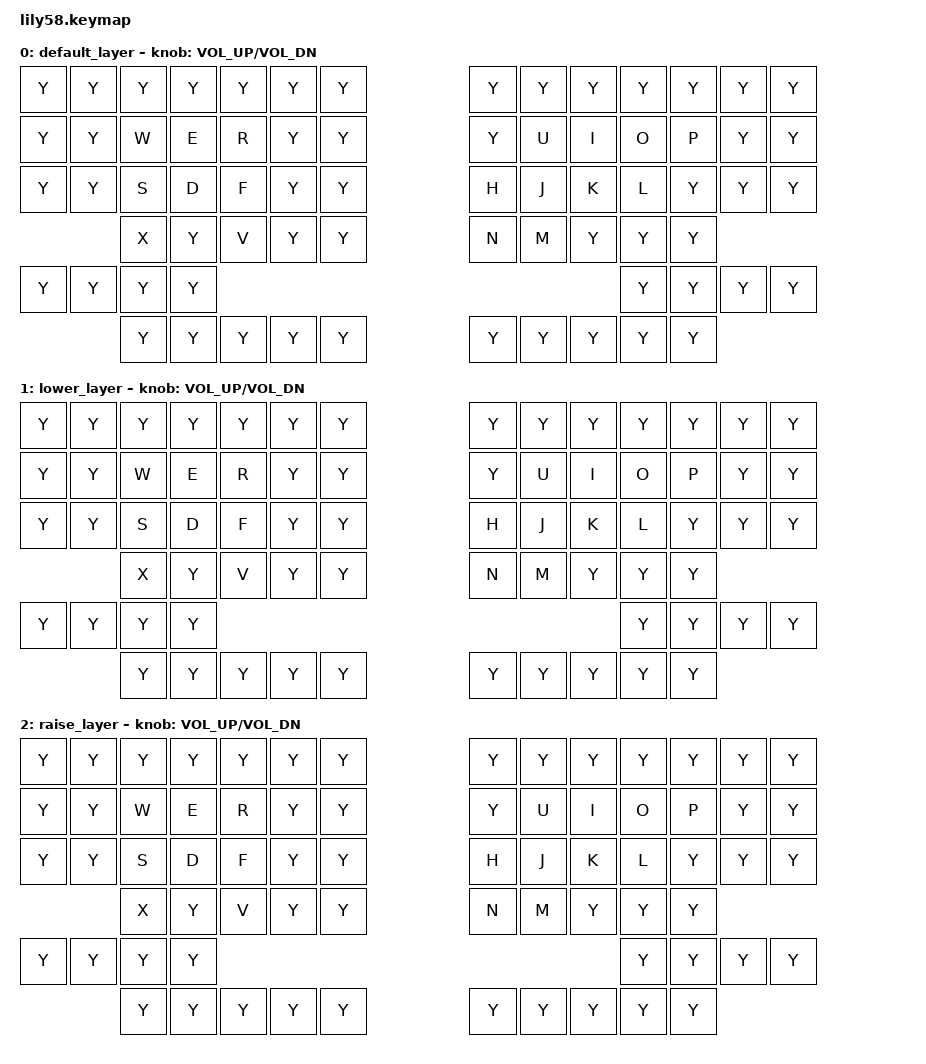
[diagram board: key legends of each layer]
/*
 * Copyright (c) 2020 The ZMK Contributors
 *
 * SPDX-License-Identifier: MIT
 */


#include <behaviors.dtsi>
#include <dt-bindings/zmk/keys.h>
#include <dt-bindings/zmk/bt.h>
#include <dt-bindings/zmk/pointing.h>


/ {
    keymap {
        compatible = "zmk,keymap";

        default_layer {
// ------------------------------------------------------------------------------------------------------------
// |  ESC  |  1  |  2  |  3   |  4   |  5   |                   |  6   |  7    |  8    |  9   |   0   |   `   |
// |  TAB  |  Q  |  W  |  E   |  R   |  T   |                   |  Y   |  U    |  I    |  O   |   P   |   -   |
// |  CTRL |  A  |  S  |  D   |  F   |  G   |                   |  H   |  J    |  K    |  L   |   ;   |   '   |
// | SHIFT |  Z  |  X  |  C   |  V   |  B   |   "["  |  |  "]"  |  N   |  M    |  ,    |  .   |   /   | SHIFT |
//                     | ALT  | GUI  | LOWER|  SPACE |  | ENTER | RAISE| BSPC  | GUI   |
            bindings = <
&kp Y   &kp Y  &kp Y  &kp Y    &kp Y    &kp Y     &kp Y                   &kp Y  &kp Y    &kp Y     &kp Y   &kp Y    &kp Y    &kp Y
&kp Y   &kp Y  &kp W  &kp E    &kp R    &kp Y     &kp Y                   &kp Y  &kp U    &kp I     &kp O   &kp P    &kp Y    &kp Y
&kp Y   &kp Y  &kp S  &kp D    &kp F    &kp Y     &kp Y                   &kp H  &kp J    &kp K     &kp L   &kp Y    &kp Y    &kp Y
               &kp X  &kp Y    &kp V    &kp Y     &kp Y                   &kp N  &kp M    &kp Y     &kp Y   &kp Y 
&kp Y   &kp Y  &kp Y  &kp Y                                                                         &kp Y   &kp Y    &kp Y    &kp Y
               &kp Y  &kp Y    &kp Y    &kp Y     &kp Y                   &kp Y  &kp Y    &kp Y     &kp Y   &kp Y
            >;

            sensor-bindings = <&inc_dec_kp C_VOL_UP C_VOL_DN>;
        };

        lower_layer {
// ------------------------------------------------------------------------------------------------------------
// | BTCLR | BT1 | BT2 |  BT3 |  BT4 |  BT5 |                   |      |       |       |      |       |       |
// |  F1   |  F2 |  F3 |  F4  |  F5  |  F6  |                   |  F7  |  F8   |  F9   |  F10 |  F11  |  F12  |
// |   `   |  !  |  @  |  #   |  $   |  %   |                   |  ^   |  &    |  *    |  (   |   )   |   ~   |
// |       |     |     |      |      |      |        |  |       |      |  _    |  +    |  {   |   }   |  "|"  |
//                     |      |      |      |        |  |       |      |       |       |
            bindings = <
&kp Y   &kp Y  &kp Y  &kp Y    &kp Y    &kp Y     &kp Y                   &kp Y  &kp Y    &kp Y     &kp Y   &kp Y    &kp Y    &kp Y
&kp Y   &kp Y  &kp W  &kp E    &kp R    &kp Y     &kp Y                   &kp Y  &kp U    &kp I     &kp O   &kp P    &kp Y    &kp Y
&kp Y   &kp Y  &kp S  &kp D    &kp F    &kp Y     &kp Y                   &kp H  &kp J    &kp K     &kp L   &kp Y    &kp Y    &kp Y
               &kp X  &kp Y    &kp V    &kp Y     &kp Y                   &kp N  &kp M    &kp Y     &kp Y   &kp Y 
&kp Y   &kp Y  &kp Y  &kp Y                                                                         &kp Y   &kp Y    &kp Y    &kp Y
               &kp Y  &kp Y    &kp Y    &kp Y     &kp Y                   &kp Y  &kp Y    &kp Y     &kp Y   &kp Y
            >;

            sensor-bindings = <&inc_dec_kp C_VOL_UP C_VOL_DN>;
        };

        raise_layer {
// ------------------------------------------------------------------------------------------------------------
// |       |     |     |      |      |      |                   |      |       |       |      |       |       |
// |   `   |  1  |  2  |  3   |  4   |  5   |                   |  6   |   7   |   8   |  9   |   0   |       |
// |   F1  |  F2 |  F3 |  F4  |  F5  |  F6  |                   |      |   <-  |   v   |  ^   |  ->   |       |
// |   F7  |  F8 |  F9 |  F10 |  F11 |  F12 |        |  |       |  +   |   -   |   =   |  [   |   ]   |   \   |
//                     |      |      |      |        |  |       |      |       |       |
            bindings = <
&kp Y   &kp Y  &kp Y  &kp Y    &kp Y    &kp Y     &kp Y                   &kp Y  &kp Y    &kp Y     &kp Y   &kp Y    &kp Y    &kp Y
&kp Y   &kp Y  &kp W  &kp E    &kp R    &kp Y     &kp Y                   &kp Y  &kp U    &kp I     &kp O   &kp P    &kp Y    &kp Y
&kp Y   &kp Y  &kp S  &kp D    &kp F    &kp Y     &kp Y                   &kp H  &kp J    &kp K     &kp L   &kp Y    &kp Y    &kp Y
               &kp X  &kp Y    &kp V    &kp Y     &kp Y                   &kp N  &kp M    &kp Y     &kp Y   &kp Y 
&kp Y   &kp Y  &kp Y  &kp Y                                                                         &kp Y   &kp Y    &kp Y    &kp Y
               &kp Y  &kp Y    &kp Y    &kp Y     &kp Y                   &kp Y  &kp Y    &kp Y     &kp Y   &kp Y
            >;

            sensor-bindings = <&inc_dec_kp C_VOL_UP C_VOL_DN>;
        };
    };
};
